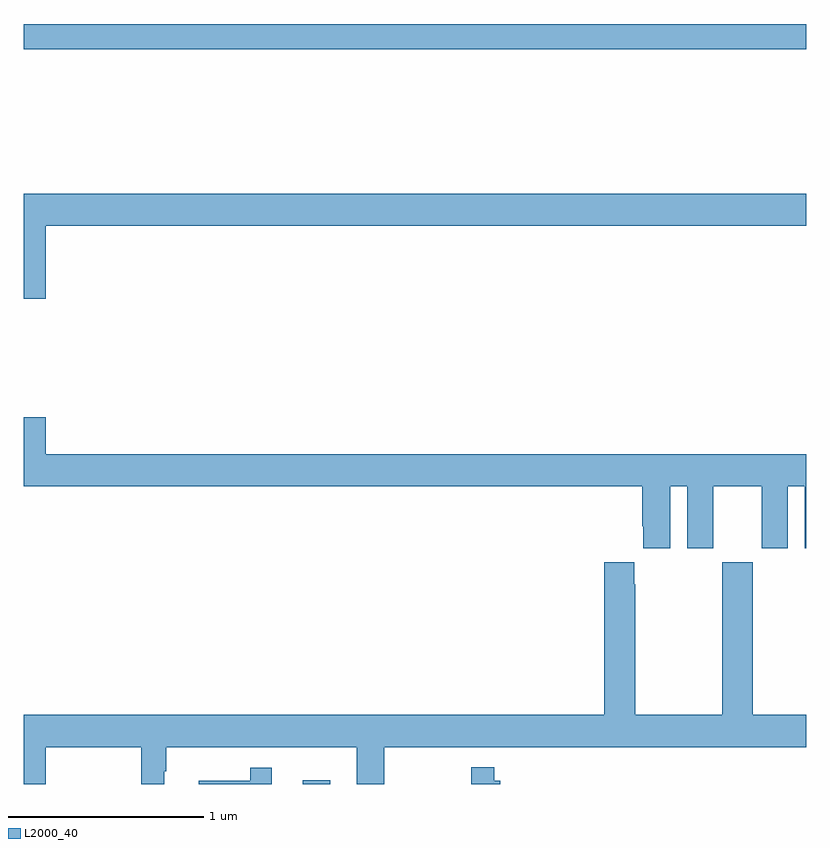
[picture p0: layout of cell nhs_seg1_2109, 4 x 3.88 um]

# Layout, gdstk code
import gdstk
lib = gdstk.Library(unit=1e-6, precision=1e-09)
def R(c, l, rs):  # rectangles x0, y0, x1, y1
    for r in rs: c.add(gdstk.rectangle(r[:2], r[2:], *l))
def P(c, l, *ps):  # polygons
    for p in ps: c.add(gdstk.Polygon(p, *l))
L2000_40 = (2000, 40)

nhs_seg1_2109 = lib.new_cell('nhs_seg1_2109')
R(nhs_seg1_2109, L2000_40, [(226.427,562.199,226.567,562.219), (225,565.954,229,566.083)])
P(nhs_seg1_2109, L2000_40, [(225.112,565.052),(229,565.052),(229,565.216),(225,565.216),(225,564.678),(225.112,564.678)],
  [(228.304,563.72),(228.392,563.72),(228.392,563.403),(228.523,563.403),(228.523,563.72),(228.773,563.72),(228.773,563.403),(228.904,563.403),(228.904,563.72),(228.992,563.72),(228.992,563.403),(229,563.403),(229,563.884),(225.112,563.884),(225.112,564.073),(225,564.073),(225,563.72),(228.161,563.72),(228.161,563.515),(228.167,563.515),(228.167,563.403),(228.304,563.403)],
  [(225,562.199),(225.112,562.199),(225.112,562.388),(225.601,562.388),(225.601,562.199),(225.718,562.199),(225.718,562.265),(225.73,562.265),(225.73,562.388),(226.703,562.388),(226.703,562.199),(226.842,562.199),(226.842,562.388),(229,562.388),(229,562.552),(228.726,562.552),(228.726,563.332),(228.571,563.332),(228.571,562.552),(228.126,562.552),(228.126,563.219),(228.121,563.219),(228.121,563.332),(227.966,563.332),(227.966,562.552),(225,562.552)],
  [(227.435,562.216),(227.405,562.216),(227.405,562.285),(227.288,562.285),(227.288,562.199),(227.435,562.199)],
  [(226.267,562.282),(226.158,562.282),(226.158,562.216),(225.896,562.216),(225.896,562.199),(226.267,562.199)])

lib.write_gds('nhs_seg1_2109.gds')
